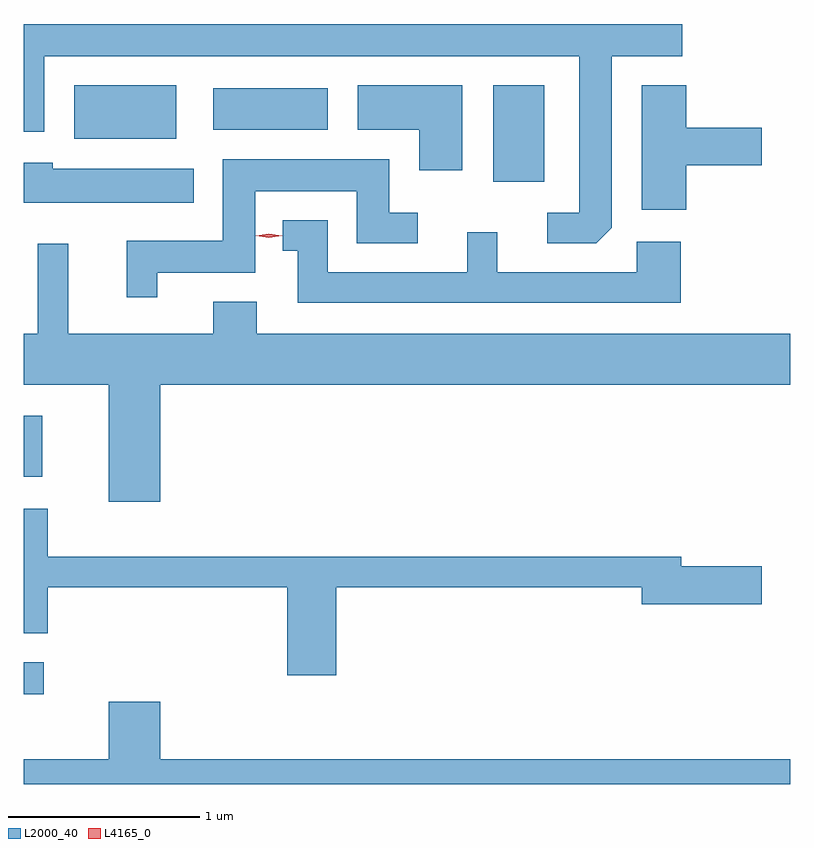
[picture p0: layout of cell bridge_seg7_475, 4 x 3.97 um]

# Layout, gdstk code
import gdstk
lib = gdstk.Library(unit=1e-6, precision=1e-09)
def R(c, l, rs):  # rectangles x0, y0, x1, y1
    for r in rs: c.add(gdstk.rectangle(r[:2], r[2:], *l))
def P(c, l, *ps):  # polygons
    for p in ps: c.add(gdstk.Polygon(p, *l))
L2000_40 = (2000, 40)
L4165_0 = (4165, 0)

bridge_seg7_475 = lib.new_cell('bridge_seg7_475')
R(bridge_seg7_475, L2000_40, [(1453.392,1708.261,1453.498,1708.429), (1453.392,1709.396,1453.489,1709.714), (1455.841,1710.936,1456.109,1711.439), (1453.656,1711.161,1454.189,1711.439), (1454.381,1711.206,1454.979,1711.424)])
P(bridge_seg7_475, L2000_40, [(1456.459,1710.697),(1456.459,1711.591),(1456.828,1711.591),(1456.828,1711.759),(1453.392,1711.759),(1453.392,1711.196),(1453.499,1711.196),(1453.499,1711.591),(1456.291,1711.591),(1456.291,1710.774),(1456.123,1710.774),(1456.123,1710.616),(1456.379,1710.616)],
  [(1456.849,1711.021),(1457.244,1711.021),(1457.244,1711.219),(1456.849,1711.219),(1456.849,1711.439),(1456.616,1711.439),(1456.616,1710.791),(1456.849,1710.791)],
  [(1455.679,1711.439),(1455.136,1711.439),(1455.136,1711.206),(1455.456,1711.206),(1455.456,1710.996),(1455.679,1710.996)],
  [(1454.089,1710.461),(1454.599,1710.461),(1454.599,1710.886),(1455.131,1710.886),(1455.131,1710.616),(1455.448,1710.616),(1455.448,1710.774),(1455.299,1710.774),(1455.299,1711.054),(1454.431,1711.054),(1454.431,1710.629),(1453.931,1710.629),(1453.931,1710.333),(1454.089,1710.333)],
  [(1454.279,1711.004),(1453.544,1711.004),(1453.544,1711.034),(1453.392,1711.034),(1453.392,1710.826),(1454.279,1710.826)],
  [(1456.819,1710.624),(1456.591,1710.624),(1456.591,1710.464),(1455.864,1710.464),(1455.864,1710.673),(1455.706,1710.673),(1455.706,1710.464),(1454.979,1710.464),(1454.979,1710.734),(1454.743,1710.734),(1454.743,1710.576),(1454.821,1710.576),(1454.821,1710.306),(1456.819,1710.306)],
  [(1454.104,1709.876),(1457.392,1709.876),(1457.392,1710.144),(1454.609,1710.144),(1454.609,1710.309),(1454.381,1710.309),(1454.381,1710.144),(1453.624,1710.144),(1453.624,1710.613),(1453.466,1710.613),(1453.466,1710.144),(1453.392,1710.144),(1453.392,1709.876),(1453.836,1709.876),(1453.836,1709.266),(1454.104,1709.266)],
  [(1455.024,1708.821),(1456.616,1708.821),(1456.616,1708.731),(1457.244,1708.731),(1457.244,1708.929),(1456.824,1708.929),(1456.824,1708.979),(1453.519,1708.979),(1453.519,1709.229),(1453.392,1709.229),(1453.392,1708.581),(1453.519,1708.581),(1453.519,1708.821),(1454.766,1708.821),(1454.766,1708.361),(1455.024,1708.361)],
  [(1457.392,1707.924),(1454.104,1707.924),(1454.104,1708.224),(1453.836,1708.224),(1453.836,1707.924),(1453.392,1707.924),(1453.392,1707.794),(1457.392,1707.794)])
P(bridge_seg7_475, L4165_0, [(1454.671,1710.644),(1454.602,1710.654),(1454.602,1710.654),(1454.602,1710.655),(1454.671,1710.664),(1454.741,1710.655),(1454.741,1710.654),(1454.741,1710.654)])

lib.write_gds('bridge_seg7_475.gds')
